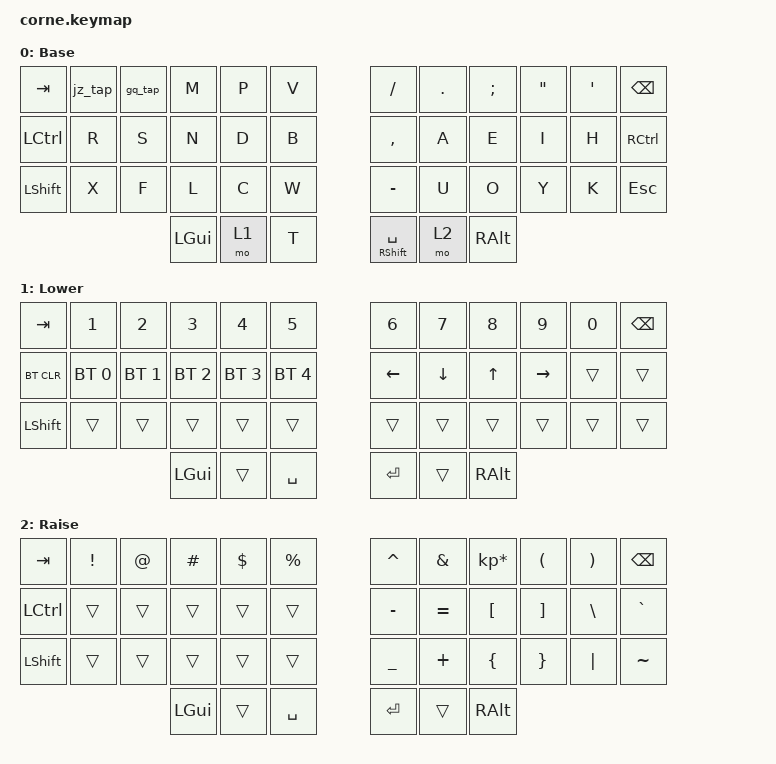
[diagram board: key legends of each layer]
/*
 * Copyright (c) 2020 The ZMK Contributors
 *
 * SPDX-License-Identifier: MIT
 */

#include <behaviors.dtsi>
#include <dt-bindings/zmk/bt.h>
#include <dt-bindings/zmk/keys.h>

/ {
    behaviors {
        jz_tap: jz_tap {
            compatible = "zmk,behavior-tap-dance";
            label = "JZ_TAP";
            #binding-cells = <0>;
            bindings = <&kp J>, <&kp Z>;
        };

        gq_tap: gq_tap {
            compatible = "zmk,behavior-tap-dance";
            label = "GQ_TAP";
            #binding-cells = <0>;
            bindings = <&kp G>, <&kp Q>;
        };
    };

    keymap {
        compatible = "zmk,keymap";

        default_layer {
            // -----------------------------------------------------------------------------------------
            // |  TAB |  Q  |  W  |  E  |  R  |  T  |   |  Y  |  U   |  I  |  O  |  P  | BKSP |
            // | CTRL |  A  |  S  |  D  |  F  |  G  |   |  H  |  J   |  K  |  L  |  ;  |  '   |
            // | SHFT |  Z  |  X  |  C  |  V  |  B  |   |  N  |  M   |  ,  |  .  |  /  | ESC  |
            //                    | GUI | LWR | SPC |   | ENT | RSE  | ALT |

            display-name = "Base";
            bindings = <
&kp TAB    &jz_tap  &gq_tap  &kp M     &kp P  &kp V    &kp SLASH        &kp DOT  &kp SEMI  &kp DQT  &kp SQT  &kp BSPC
&kp LCTRL  &kp R    &kp S    &kp N     &kp D  &kp B    &kp COMMA        &kp A    &kp E     &kp I    &kp H    &kp RCTRL
&kp LSHFT  &kp X    &kp F    &kp L     &kp C  &kp W    &kp MINUS        &kp U    &kp O     &kp Y    &kp K    &kp ESC
                             &kp LGUI  &mo 1  &kp T    &mt RSHFT SPACE  &mo 2    &kp RALT
            >;
        };

        lower_layer {
            // -----------------------------------------------------------------------------------------
            // |  TAB |  1  |  2  |  3  |  4  |  5  |   |  6  |  7  |  8  |  9  |  0  | BKSP |
            // | BTCLR| BT1 | BT2 | BT3 | BT4 | BT5 |   | LFT | DWN |  UP | RGT |     |      |
            // | SHFT |     |     |     |     |     |   |     |     |     |     |     |      |
            //                    | GUI |     | SPC |   | ENT |     | ALT |

            display-name = "Lower";
            bindings = <
&kp TAB     &kp N1        &kp N2        &kp N3        &kp N4        &kp N5          &kp N6    &kp N7    &kp N8    &kp N9     &kp N0  &kp BSPC
&bt BT_CLR  &bt BT_SEL 0  &bt BT_SEL 1  &bt BT_SEL 2  &bt BT_SEL 3  &bt BT_SEL 4    &kp LEFT  &kp DOWN  &kp UP    &kp RIGHT  &trans  &trans
&kp LSHFT   &trans        &trans        &trans        &trans        &trans          &trans    &trans    &trans    &trans     &trans  &trans
                                        &kp LGUI      &trans        &kp SPACE       &kp RET   &trans    &kp RALT
            >;
        };

        raise_layer {
            // -----------------------------------------------------------------------------------------
            // |  TAB |  !  |  @  |  #  |  $  |  %  |   |  ^  |  &  |  *  |  (  |  )  | BKSP |
            // | CTRL |     |     |     |     |     |   |  -  |  =  |  [  |  ]  |  \  |  `   |
            // | SHFT |     |     |     |     |     |   |  _  |  +  |  {  |  }  | "|" |  ~   |
            //                    | GUI |     | SPC |   | ENT |     | ALT |

            display-name = "Raise";
            bindings = <
&kp TAB    &kp EXCL  &kp AT  &kp HASH  &kp DLLR  &kp PRCNT    &kp CARET  &kp AMPS   &kp KP_MULTIPLY  &kp LPAR  &kp RPAR  &kp BSPC
&kp LCTRL  &trans    &trans  &trans    &trans    &trans       &kp MINUS  &kp EQUAL  &kp LBKT         &kp RBKT  &kp BSLH  &kp GRAVE
&kp LSHFT  &trans    &trans  &trans    &trans    &trans       &kp UNDER  &kp PLUS   &kp LBRC         &kp RBRC  &kp PIPE  &kp TILDE
                             &kp LGUI  &trans    &kp SPACE    &kp RET    &trans     &kp RALT
            >;
        };
    };
};
